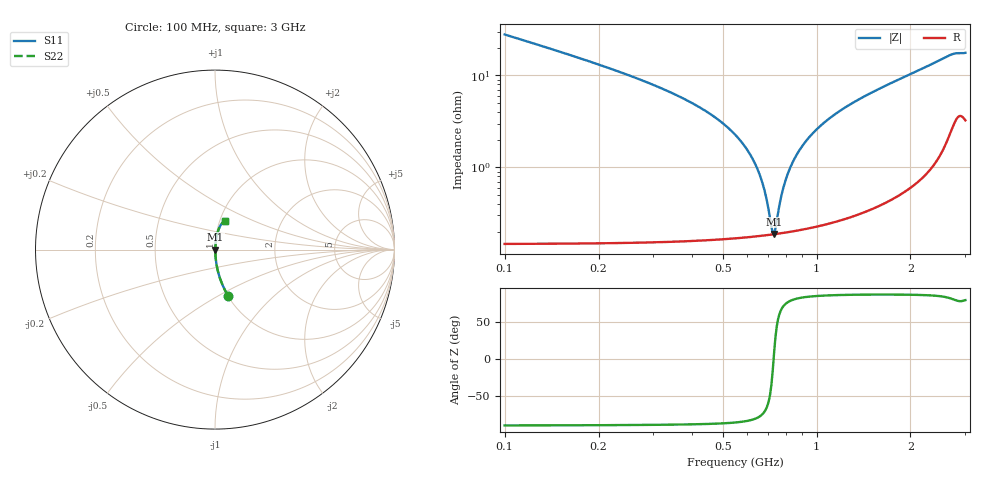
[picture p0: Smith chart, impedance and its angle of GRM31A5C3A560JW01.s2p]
!Murata Part Number: GRM31A5C3A560JW01
!These Parameters are Measured in Series Mode Connection
!Data Generated on Mar 30, 2021
!  o--ll--o
!Port1  Port2
!  o------o
!Operation Temp=25[degC], DC Bias Voltage=0[V]
!Freq. Start=100[MHz] Stop=3[GHz] 401[Steps]
# Hz S RI R 50
!Freq.(Hz) S11(Real) S11(Imag) S21(Real) S21(Imag) S12(Real) S12(Imag) S22(Real) S22(Imag)
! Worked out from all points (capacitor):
!   401 points, 100 MHz to 3 GHz, reference 50 ohm
!   read as one part in series: C = 56 pF near 114.5 MHz
!   lowest |Z| = 189 mohm at 730.8 MHz (marker M1)
!   series resonance near 728.4 MHz, so ESL is about 850 pH
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1e8  0.0733 -0.2581  0.9267 0.2581  0.9267 0.2581  0.0733 -0.2581
1.725e8  0.025 -0.1515  0.975 0.1515  0.975 0.1515  0.025 -0.1515
2.5225e8  0.0112 -0.098  0.9888 0.098  0.9888 0.098  0.0112 -0.098
4.77e8  0.0028 -0.0341  0.9972 0.0341  0.9972 0.0341  0.0028 -0.0341
5.8575e8  0.00202 -0.0172  0.998 0.0172  0.998 0.0172  0.00202 -0.0172
6.2925e8  0.0019 -0.0115  0.9981 0.0115  0.9981 0.0115  0.0019 -0.0115
6.5825e8  0.00186 -0.00797  0.9981 0.00797  0.9981 0.00797  0.00186 -0.00797
6.8725e8  0.00184 -0.00458  0.9982 0.00458  0.9982 0.00458  0.00184 -0.00458
7.1625e8  0.00186 -0.00133  0.9981 0.00133  0.9981 0.00133  0.00186 -0.00133
7.3075e8  0.00187 0.000251  0.9981 -0.000251  0.9981 -0.000251  0.00187 0.000251
7.4525e8  0.00189 0.0018  0.9981 -0.0018  0.9981 -0.0018  0.00189 0.0018
7.67e8  0.00193 0.00407  0.9981 -0.00407  0.9981 -0.00407  0.00193 0.00407
7.8875e8  0.00198 0.00628  0.998 -0.00628  0.998 -0.00628  0.00198 0.00628
8.4675e8  0.00216 0.0119  0.9978 -0.0119  0.9978 -0.0119  0.00216 0.0119
9.41e8  0.00258 0.0205  0.9974 -0.0205  0.9974 -0.0205  0.00258 0.0205
1.0715e9  0.00339 0.0315  0.9966 -0.0315  0.9966 -0.0315  0.00339 0.0315
1.2745e9  0.00509 0.0474  0.9949 -0.0474  0.9949 -0.0474  0.00509 0.0474
1.55e9  0.00829 0.0678  0.9917 -0.0678  0.9917 -0.0678  0.00829 0.0678
2.03575e9  0.0172 0.1037  0.9828 -0.1037  0.9828 -0.1037  0.0172 0.1037
2.5215e9  0.0355 0.1425  0.9645 -0.1425  0.9645 -0.1425  0.0355 0.1425
2.74625e9  0.0535 0.1558  0.9465 -0.1558  0.9465 -0.1558  0.0535 0.1558
3e9  0.0579 0.158  0.9421 -0.158  0.9421 -0.158  0.0579 0.158
